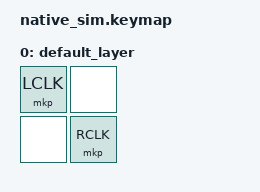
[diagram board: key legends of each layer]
#include <behaviors.dtsi>
#include <dt-bindings/zmk/keys.h>
#include <dt-bindings/zmk/kscan_mock.h>
#include <dt-bindings/zmk/pointing.h>

/ {
    keymap {
        compatible = "zmk,keymap";

        default_layer {
            bindings = <
            &mkp LCLK &none
            &none     &mkp RCLK
            >;
        };
    };
};


&kscan {
    events = <
    ZMK_MOCK_PRESS  (0,0,100)
    ZMK_MOCK_PRESS  (1,1,100)
    ZMK_MOCK_RELEASE(1,1, 10)
    ZMK_MOCK_RELEASE(0,0, 10)
    >;
};
